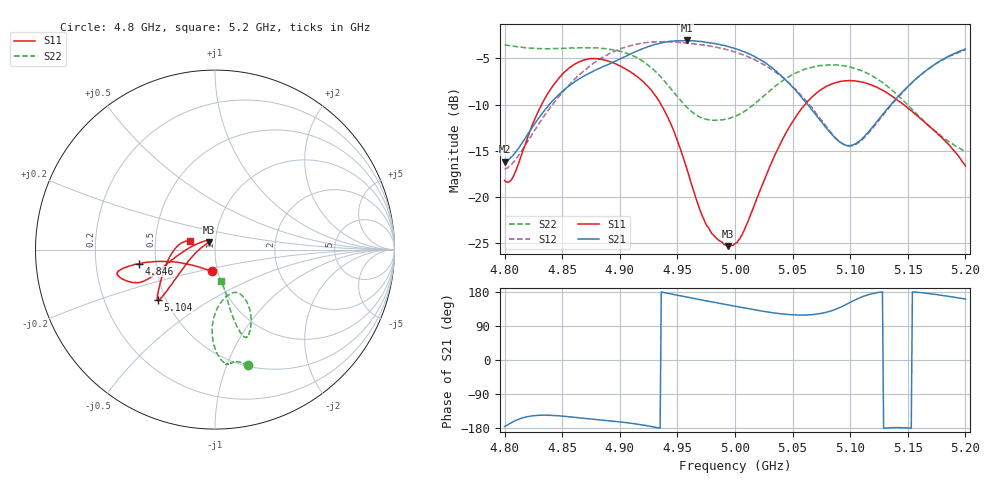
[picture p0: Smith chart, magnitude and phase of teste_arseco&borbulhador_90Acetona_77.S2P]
! Network Analyzer HP8722D
! Hewlett-Packard
! Data name: Linha & Wilkinson
! Saver's name: Rodrigo Anjos
! Comments: Teste da utilização de aquisição
! continua pelo VNA HP8722D
! Time and date: 17/4/2025 11:41
!  Frequency  S11  S21  S12  S22
# HZ  S  MA R 50
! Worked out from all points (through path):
!   401 points, 4.8 GHz to 5.2 GHz, reference 50 ohm
!   highest |S21| = -3.05 dB at 4.958 GHz (marker M1); lowest = -16.2 dB at 4.8 GHz (marker M2)
!   lowest |S11| = -25.3 dB at 4.994 GHz (marker M3), VSWR 1.11, Z = 46.7 + j4.03 ohm
!   |S11| at or under -10 dB: start of sweep to 4.832 GHz; 4.936 GHz to 5.061 GHz (124.8 MHz wide, 2.5 % of centre); 5.146 GHz to end of sweep
!   |S22| runs from -15.0 to -3.5 dB; largest |S21 - S12| = 0.85
!   S11 on the Smith chart (normalised r, x): 4.8 GHz: 0.93, -0.23; 4.846 GHz: 0.40, -0.08; 5.104 GHz: 0.45, -0.31; 5.2 GHz: 0.75, +0.08
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4.8e9  0.1227 -99.1  0.1554 -175.6  0.1417 -121.3  0.6672 -73.9
4.808e9  0.1307 -131.8  0.17 -161.8  0.1546 -107.1  0.6558 -75.5
4.828e9  0.2802 -166.4  0.2594 -146.2  0.2396 -89.5  0.6372 -79.1
4.846e9  0.4315 -169.5  0.3528 -147.1  0.3432 -87.6  0.6366 -81.2
4.867e9  0.5466 -167.6  0.4446 -153.4  0.471 -91.5  0.6435 -83.2
4.883e9  0.5572 -164.6  0.4994 -158.5  0.5605 -97.1  0.6388 -84.8
4.902e9  0.5046 -159.2  0.5663 -164.1  0.6395 -104.6  0.6112 -87.1
4.934e9  0.332 -159.5  0.6769 -179.4  0.6945 -119.1  0.4566 -92.1
4.946e9  0.2347 -167.9  0.698 173.3  0.6914 -124.5  0.3743 -90.8
4.958e9  0.1432 176.1  0.7039 165.9  0.6809 -129.7  0.3068 -85.3
4.974e9  0.07299 138.7  0.6893 156.5  0.663 -136.6  0.2641 -73.9
4.994e9  0.05414 127.3  0.6521 145.4  0.6244 -145.8  0.265 -64.0
5e9  0.05596 140.4  0.6352 141.8  0.6115 -148.5  0.2728 -62.0
5.008e9  0.0661 161.5  0.6115 137.6  0.5856 -152.0  0.2903 -59.9
5.031e9  0.1497 -158.7  0.5071 125.3  0.4949 -161.0  0.3801 -59.6
5.049e9  0.2498 -145.2  0.398 119.6  0.4004 -165.2  0.4563 -63.9
5.067e9  0.3482 -139.6  0.2956 120.0  0.303 -164.6  0.5032 -67.8
5.09e9  0.4208 -137.8  0.2007 137.4  0.2015 -146.3  0.5163 -70.9
5.104e9  0.4247 -138.9  0.1933 158.1  0.1917 -124.1  0.4967 -72.5
5.134e9  0.3588 -148.4  0.3091 -178.9  0.3051 -97.9  0.3894 -75.2
5.163e9  0.2592 -169.9  0.4669 177.2  0.4683 -99.9  0.2616 -76.1
5.2e9  0.147 160.6  0.6328 160.9  0.6252 -113.5  0.1768 -79.1
